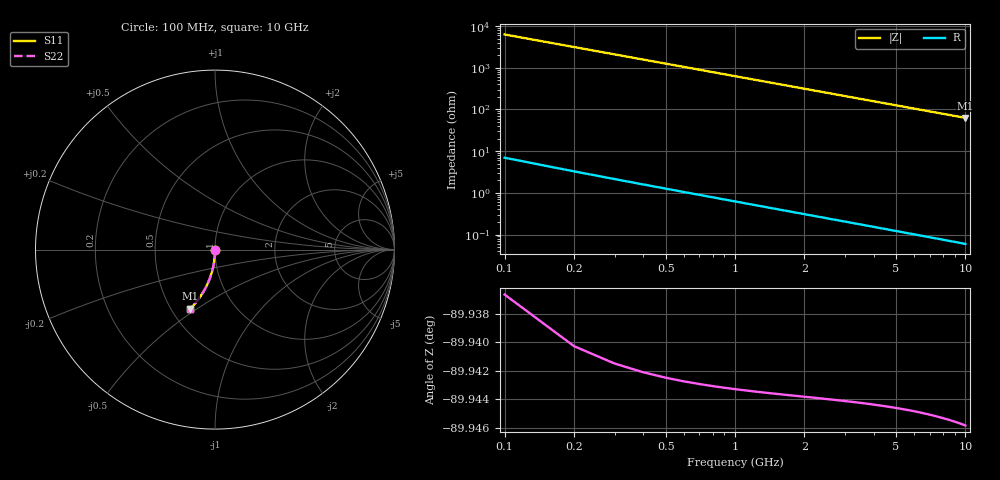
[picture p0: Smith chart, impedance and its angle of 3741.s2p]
# Hz S RI R 50.00
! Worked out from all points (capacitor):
!   100 points, 100 MHz to 10 GHz, reference 50 ohm
!   read as one part in shunt: C = 254 fF near 100 MHz
!   lowest |Z| = 62.9 ohm at 10 GHz (marker M1)
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1e8  8.31e-05 -0.00382  0.9999 -0.00415  0.9999 -0.00415  8.31e-05 -0.00382
2e8  3.24e-05 -0.00763  0.9998 -0.00829  0.9998 -0.00829  3.24e-05 -0.00763
3e8  -5.01e-05 -0.0115  0.9997 -0.0124  0.9997 -0.0124  -5.01e-05 -0.0115
4e8  -0.000164 -0.0153  0.9996 -0.0166  0.9996 -0.0166  -0.000164 -0.0153
5e8  -0.00031 -0.0191  0.9995 -0.0207  0.9995 -0.0207  -0.00031 -0.0191
6e8  -0.000488 -0.0229  0.9993 -0.0249  0.9993 -0.0249  -0.000488 -0.0229
7e8  -0.000697 -0.0267  0.9991 -0.029  0.9991 -0.029  -0.000697 -0.0267
8e8  -0.000938 -0.0305  0.9988 -0.0331  0.9988 -0.0331  -0.000938 -0.0305
9e8  -0.00121 -0.0343  0.9986 -0.0373  0.9986 -0.0373  -0.00121 -0.0343
1.1e9  -0.00185 -0.0419  0.9979 -0.0455  0.9979 -0.0455  -0.00185 -0.0419
1.4e9  -0.00304 -0.0533  0.9967 -0.0579  0.9967 -0.0579  -0.00304 -0.0533
1.8e9  -0.00507 -0.0684  0.9947 -0.0743  0.9947 -0.0743  -0.00507 -0.0684
2.1e9  -0.00691 -0.0796  0.9928 -0.0865  0.9928 -0.0865  -0.00691 -0.0796
2.5e9  -0.00979 -0.0945  0.99 -0.1027  0.99 -0.1027  -0.00979 -0.0945
2.9e9  -0.0132 -0.1092  0.9866 -0.1188  0.9866 -0.1188  -0.0132 -0.1092
3.4e9  -0.018 -0.1274  0.9817 -0.1387  0.9817 -0.1387  -0.018 -0.1274
4.2e9  -0.0273 -0.1559  0.9724 -0.1698  0.9724 -0.1698  -0.0273 -0.1559
5.1e9  -0.0397 -0.1869  0.9599 -0.2037  0.9599 -0.2037  -0.0397 -0.1869
5.9e9  -0.0525 -0.2133  0.947 -0.2328  0.947 -0.2328  -0.0525 -0.2133
6.7e9  -0.0668 -0.2385  0.9327 -0.2607  0.9327 -0.2607  -0.0668 -0.2385
8.4e9  -0.1013 -0.2877  0.8981 -0.3156  0.8981 -0.3156  -0.1013 -0.2877
1e10  -0.138 -0.3282  0.8612 -0.3614  0.8612 -0.3614  -0.138 -0.3282
